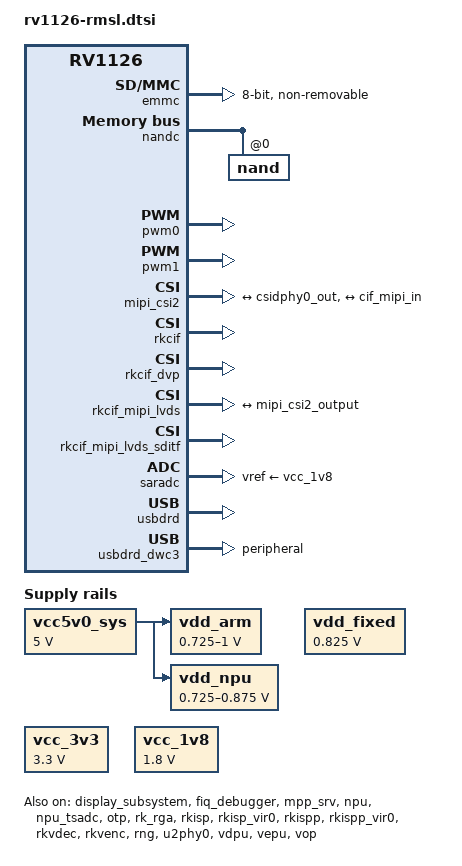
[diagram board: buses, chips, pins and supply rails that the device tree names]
// SPDX-License-Identifier: (GPL-2.0+ OR MIT)
/*
 * Copyright (c) 2020 Rockchip Electronics Co., Ltd.
 */

#include <dt-bindings/display/drm_mipi_dsi.h>
#include <dt-bindings/input/input.h>

/ {
	vcc5v0_sys: vccsys {
		compatible = "regulator-fixed";
		regulator-name = "vcc5v0_sys";
		regulator-always-on;
		regulator-boot-on;
		regulator-min-microvolt = <5000000>;
		regulator-max-microvolt = <5000000>;
	};

	vdd_arm: vdd-arm {
		compatible = "pwm-regulator";
		pwms = <&pwm0 0 5000 1>;
		regulator-name = "vdd_arm";
		regulator-min-microvolt = <725000>;
		regulator-max-microvolt = <1000000>;
		regulator-init-microvolt = <900000>;
		regulator-always-on;
		regulator-boot-on;
		regulator-settling-time-up-us = <250>;
		pwm-supply = <&vcc5v0_sys>;
		status = "okay";
	};

	vdd_npu: vdd-npu {
		compatible = "pwm-regulator";
		pwms = <&pwm1 0 5000 1>;
		regulator-name = "vdd_npu";
		regulator-min-microvolt = <725000>;
		regulator-max-microvolt = <875000>;
		regulator-init-microvolt = <825000>;
		regulator-always-on;
		regulator-boot-on;
		regulator-settling-time-up-us = <250>;
		pwm-supply = <&vcc5v0_sys>;
		status = "okay";
	};

	vdd_logic: vdd-logic {
		compatible = "pwm-regulator";
		pwms = <&pwm2 0 5000 1>;
		regulator-name = "vdd_logic";
		regulator-min-microvolt = <725000>;
		regulator-max-microvolt = <875000>;
		regulator-init-microvolt = <825000>;
		regulator-always-on;
		regulator-boot-on;
		regulator-settling-time-up-us = <250>;
		pwm-supply = <&vcc5v0_sys>;
		status = "disabled";
	};

	vdd_fixed: vdd-fixed {
		compatible = "regulator-fixed";
		regulator-name = "vdd_fixed";
		regulator-always-on;
		regulator-boot-on;
		regulator-min-microvolt = <825000>;
		regulator-max-microvolt = <825000>;
	};

	vcc_3v3: vcc-3v3 {
		compatible = "regulator-fixed";
		regulator-name = "vcc_3v3";
		regulator-always-on;
		regulator-boot-on;
		regulator-min-microvolt = <3300000>;
		regulator-max-microvolt = <3300000>;
	};

	vcc_1v8: vcc-1v8 {
		compatible = "regulator-fixed";
		regulator-name = "vcc_1v8";
		regulator-always-on;
		regulator-boot-on;
		regulator-min-microvolt = <1800000>;
		regulator-max-microvolt = <1800000>;
	};
};

&cpu0 {
	cpu-supply = <&vdd_arm>;
};

&cpu_tsadc {
	rockchip,hw-tshut-mode = <0>; /* tshut mode 0:CRU 1:GPIO */
	rockchip,hw-tshut-polarity = <0>; /* tshut polarity 0:LOW 1:HIGH */
	pinctrl-names = "gpio", "otpout";
	pinctrl-0 = <&tsadcm0_shut>;
	pinctrl-1 = <&tsadc_shutorg>;
	status = "okay";
};

&display_subsystem {
	status = "okay";
};

&emmc {
	bus-width = <8>;
	cap-mmc-highspeed;
	non-removable;
	mmc-hs200-1_8v;
	rockchip,default-sample-phase = <90>;
	supports-emmc;
	/delete-property/ pinctrl-names;
	/delete-property/ pinctrl-0;
	status = "okay";
};

&fiq_debugger {
	status = "okay";
};

&mpp_srv {
	status = "okay";
};

&nandc {
	#address-cells = <1>;
	#size-cells = <0>;

	nand@0 {
		reg = <0>;
		nand-bus-width = <8>;
		nand-ecc-mode = "hw";
		nand-ecc-strength = <16>;
		nand-ecc-step-size = <1024>;
	};
};

&npu {
	npu-supply = <&vdd_fixed>;
	status = "okay";
};

&npu_tsadc {
	rockchip,hw-tshut-mode = <0>; /* tshut mode 0:CRU 1:GPIO */
	rockchip,hw-tshut-polarity = <0>; /* tshut polarity 0:LOW 1:HIGH */
	pinctrl-names = "gpio", "otpout";
	pinctrl-0 = <&tsadcm0_shut>;
	pinctrl-1 = <&tsadc_shutorg>;
	status = "okay";
};

&optee {
	status = "disabled";
};

&otp {
	status = "okay";
};

&pinctrl {
	pmic {
		/omit-if-no-ref/
		pmic_int: pmic_int {
			rockchip,pins =
				<0 RK_PB1 RK_FUNC_GPIO &pcfg_pull_up>;
		};

		/omit-if-no-ref/
		soc_slppin_gpio: soc_slppin_gpio {
			rockchip,pins =
				<0 RK_PB2 RK_FUNC_GPIO &pcfg_output_low>;
		};

		/omit-if-no-ref/
		soc_slppin_slp: soc_slppin_slp {
			rockchip,pins =
				<0 RK_PB2 1 &pcfg_pull_none>;
		};

		/omit-if-no-ref/
		soc_slppin_rst: soc_slppin_rst {
			rockchip,pins =
				<0 RK_PB2 2 &pcfg_pull_none>;
		};
	};
};

&pmu_io_domains {
	status = "okay";

	pmuio0-supply = <&vcc_1v8>;
	pmuio1-supply = <&vcc_1v8>;
	vccio1-supply = <&vcc_1v8>;
	vccio2-supply = <&vcc_3v3>;
	vccio3-supply = <&vcc_1v8>;
	vccio4-supply = <&vcc_1v8>;
	vccio5-supply = <&vcc_3v3>;
	vccio6-supply = <&vcc_1v8>;
	vccio7-supply = <&vcc_1v8>;
};

&pwm0 {
	status = "okay";
	pinctrl-names = "active";
	pinctrl-0 = <&pwm0m0_pins_pull_down>;
};

&pwm1 {
	status = "okay";
	pinctrl-names = "active";
	pinctrl-0 = <&pwm1m0_pins_pull_down>;
};

&pwm2 {
	status = "disabled";
	pinctrl-names = "active";
	pinctrl-0 = <&pwm2m0_pins_pull_down>;
};

&ramoops {
	status = "okay";
};

&rk_rga {
	status = "okay";
};

&rkisp {
	status = "okay";
};

&mipi_csi2 {
	status = "okay";

	ports {
		#address-cells = <1>;
		#size-cells = <0>;

		port@0 {
			reg = <0>;
			#address-cells = <1>;
			#size-cells = <0>;

			mipi_csi2_input: endpoint@1 {
				reg = <1>;
				remote-endpoint = <&csidphy0_out>;
				data-lanes = <1 2>;
			};
		};

		port@1 {
			reg = <1>;
			#address-cells = <1>;
			#size-cells = <0>;

			mipi_csi2_output: endpoint@0 {
				reg = <0>;
				remote-endpoint = <&cif_mipi_in>;
				data-lanes = <1 2>;
			};
		};
	};
};

&rkcif {
	status = "okay";
};

&rkcif_mmu {
	status = "disabled";
};

&rkcif_dvp {
	status = "okay";

	port {
		/* Parallel bus endpoint */
		/*
		cif_para_in: endpoint {
			remote-endpoint = <&cam_para_out1>;
			bus-width = <12>;
			hsync-active = <1>;
			vsync-active = <0>;
		};
		*/
	};
};

&rkcif_mipi_lvds {
	status = "okay";

	port {
		/* MIPI CSI-2 endpoint */
		cif_mipi_in: endpoint {
			remote-endpoint = <&mipi_csi2_output>;
			data-lanes = <1 2>;
		};
	};
};

&rkcif_mipi_lvds_sditf {
	status = "okay";

	port {
		/* MIPI CSI-2 endpoint */
		mipi_lvds_sditf: endpoint {
			/*remote-endpoint = <&isp_in>;*/
			data-lanes = <1 2>;
		};
	};
};

&rkisp_vir0 {
	status = "okay";

	ports {
		port@0 {
			reg = <0>;
			#address-cells = <1>;
			#size-cells = <0>;

			isp_in: endpoint@0 {
				reg = <0>;
				remote-endpoint = <&csidphy1_out>;
			};
		};
	};
};

&rkisp_mmu {
	status = "disabled";
};

&rkispp {
	status = "okay";
	/* the max input w h and fps of mulit sensor */
	//max-input = <2688 1520 30>;
};

&rkispp_vir0 {
	status = "okay";
};

&rkispp_mmu {
	status = "okay";
};

&rkvdec {
	status = "okay";
};

&rkvdec_mmu {
	status = "okay";
};

&rkvenc {
	venc-supply = <&vdd_fixed>;
	status = "okay";
};

&rkvenc_mmu {
	status = "okay";
};

&rng {
	status = "okay";
};

&saradc {
	status = "okay";
	vref-supply = <&vcc_1v8>;
};

&u2phy0 {
	status = "okay";
	vup-gpios = <&gpio0 RK_PC1 GPIO_ACTIVE_LOW>;
	u2phy_otg: otg-port {
		status = "okay";
		rockchip,vbus-always-on;
	};
};

&usbdrd {
	status = "okay";
};

&usbdrd_dwc3 {
	status = "okay";
	snps,tx-fifo-resize;
	dr_mode = "peripheral";
};

&vdpu {
	status = "okay";
};

&vepu {
	status = "okay";
};

&vpu_mmu {
	status = "okay";
};

&vop {
	status = "okay";
};

&vop_mmu {
	status = "okay";
};
